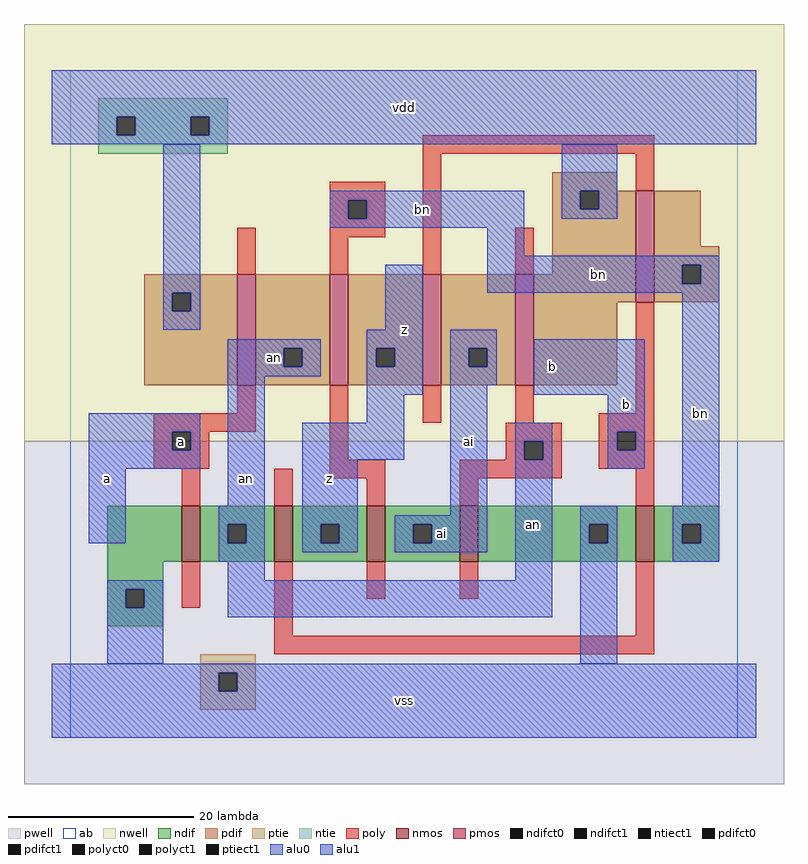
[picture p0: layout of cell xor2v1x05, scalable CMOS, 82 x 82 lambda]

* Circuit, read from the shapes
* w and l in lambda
.subckt xor2v1x05 a ai an b bn vdd vss z
M1 an a vss vss nfet w=6 l=2
M2 z b an vss nfet w=6 l=2
M3 ai bn z vss nfet w=6 l=2
M4 vss an ai vss nfet w=6 l=2
M5 bn b vss vss nfet w=6 l=2
M6 an a vdd vdd pfet w=12 l=2
M7 z bn an vdd pfet w=12 l=2
M8 ai b z vdd pfet w=12 l=2
M9 vdd an ai vdd pfet w=12 l=2
M10 bn b vdd vdd pfet w=12 l=2
.ends

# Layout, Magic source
magic
tech scmos
<< ab >>
rect 0 0 72 72
<< nwell >>
rect -5 32 77 77
<< pwell >>
rect -5 -5 77 32
<< poly >>
rect 38 63 63 65
rect 28 58 34 60
rect 28 56 30 58
rect 32 56 34 58
rect 18 50 20 55
rect 28 54 34 56
rect 28 50 30 54
rect 38 50 40 63
rect 61 59 63 63
rect 48 50 50 55
rect 18 35 20 38
rect 9 33 20 35
rect 9 31 11 33
rect 13 31 15 33
rect 9 29 15 31
rect 28 30 30 38
rect 38 34 40 38
rect 48 34 50 38
rect 61 35 63 47
rect 47 32 53 34
rect 47 30 49 32
rect 51 30 53 32
rect 12 25 14 29
rect 22 25 24 29
rect 28 28 34 30
rect 32 25 34 28
rect 42 28 53 30
rect 57 33 63 35
rect 57 31 59 33
rect 61 31 63 33
rect 57 29 63 31
rect 42 25 44 28
rect 61 25 63 29
rect 12 14 14 19
rect 22 11 24 19
rect 32 15 34 19
rect 42 15 44 19
rect 61 11 63 19
rect 22 9 63 11
<< ndif >>
rect 4 19 12 25
rect 14 23 22 25
rect 14 21 17 23
rect 19 21 22 23
rect 14 19 22 21
rect 24 23 32 25
rect 24 21 27 23
rect 29 21 32 23
rect 24 19 32 21
rect 34 23 42 25
rect 34 21 37 23
rect 39 21 42 23
rect 34 19 42 21
rect 44 23 61 25
rect 44 21 56 23
rect 58 21 61 23
rect 44 19 61 21
rect 63 23 70 25
rect 63 21 66 23
rect 68 21 70 23
rect 63 19 70 21
rect 4 16 10 19
rect 4 14 6 16
rect 8 14 10 16
rect 4 12 10 14
<< pdif >>
rect 52 59 59 61
rect 52 57 55 59
rect 57 57 61 59
rect 52 50 61 57
rect 8 48 18 50
rect 8 46 11 48
rect 13 46 18 48
rect 8 38 18 46
rect 20 42 28 50
rect 20 40 23 42
rect 25 40 28 42
rect 20 38 28 40
rect 30 42 38 50
rect 30 40 33 42
rect 35 40 38 42
rect 30 38 38 40
rect 40 42 48 50
rect 40 40 43 42
rect 45 40 48 42
rect 40 38 48 40
rect 50 47 61 50
rect 63 53 68 59
rect 63 51 70 53
rect 63 49 66 51
rect 68 49 70 51
rect 63 47 70 49
rect 50 38 59 47
<< alu1 >>
rect -2 67 74 72
rect -2 65 5 67
rect 7 65 13 67
rect 15 65 74 67
rect -2 64 74 65
rect 34 44 38 51
rect 32 42 38 44
rect 32 40 33 42
rect 35 40 38 42
rect 2 33 14 35
rect 2 31 11 33
rect 13 31 14 33
rect 2 29 14 31
rect 2 21 6 29
rect 32 37 38 40
rect 32 34 36 37
rect 25 30 36 34
rect 25 23 31 30
rect 50 37 62 43
rect 25 21 27 23
rect 29 21 31 23
rect 25 20 31 21
rect 58 33 62 37
rect 58 31 59 33
rect 61 31 62 33
rect 58 29 62 31
rect -2 7 74 8
rect -2 5 16 7
rect 18 5 74 7
rect -2 0 74 5
<< ptie >>
rect 14 7 20 9
rect 14 5 16 7
rect 18 5 20 7
rect 14 3 20 5
<< ntie >>
rect 3 67 17 69
rect 3 65 5 67
rect 7 65 13 67
rect 15 65 17 67
rect 3 63 17 65
<< nmos >>
rect 12 19 14 25
rect 22 19 24 25
rect 32 19 34 25
rect 42 19 44 25
rect 61 19 63 25
<< pmos >>
rect 18 38 20 50
rect 28 38 30 50
rect 38 38 40 50
rect 48 38 50 50
rect 61 47 63 59
<< polyct0 >>
rect 30 56 32 58
rect 49 30 51 32
<< polyct1 >>
rect 11 31 13 33
rect 59 31 61 33
<< ndifct0 >>
rect 17 21 19 23
rect 37 21 39 23
rect 56 21 58 23
rect 66 21 68 23
rect 6 14 8 16
<< ndifct1 >>
rect 27 21 29 23
<< ntiect1 >>
rect 5 65 7 67
rect 13 65 15 67
<< ptiect1 >>
rect 16 5 18 7
<< pdifct0 >>
rect 55 57 57 59
rect 11 46 13 48
rect 23 40 25 42
rect 43 40 45 42
rect 66 49 68 51
<< pdifct1 >>
rect 33 40 35 42
<< alu0 >>
rect 10 48 14 64
rect 53 59 59 64
rect 28 58 49 59
rect 28 56 30 58
rect 32 56 49 58
rect 53 57 55 59
rect 57 57 59 59
rect 53 56 59 57
rect 28 55 49 56
rect 45 52 49 55
rect 45 51 70 52
rect 10 46 11 48
rect 13 46 14 48
rect 10 44 14 46
rect 45 49 66 51
rect 68 49 70 51
rect 45 48 70 49
rect 17 42 27 43
rect 17 40 23 42
rect 25 40 27 42
rect 17 39 27 40
rect 17 25 21 39
rect 41 42 46 44
rect 41 40 43 42
rect 45 40 46 42
rect 41 38 46 40
rect 16 23 21 25
rect 16 21 17 23
rect 19 21 21 23
rect 16 19 21 21
rect 41 24 45 38
rect 35 23 45 24
rect 35 21 37 23
rect 39 21 45 23
rect 35 20 45 21
rect 48 32 52 34
rect 48 30 49 32
rect 51 30 52 32
rect 17 17 21 19
rect 48 17 52 30
rect 66 25 70 48
rect 4 16 10 17
rect 4 14 6 16
rect 8 14 10 16
rect 4 8 10 14
rect 17 13 52 17
rect 55 23 59 25
rect 55 21 56 23
rect 58 21 59 23
rect 55 8 59 21
rect 65 23 70 25
rect 65 21 66 23
rect 68 21 70 23
rect 65 19 70 21
<< labels >>
rlabel alu0 19 28 19 28 6 an
rlabel alu0 22 41 22 41 6 an
rlabel alu0 50 23 50 23 6 an
rlabel alu0 40 22 40 22 6 ai
rlabel alu0 43 32 43 32 6 ai
rlabel alu0 38 57 38 57 6 bn
rlabel alu0 68 35 68 35 6 bn
rlabel alu0 57 50 57 50 6 bn
rlabel alu1 4 28 4 28 6 a
rlabel polyct1 12 32 12 32 6 a
rlabel alu1 28 28 28 28 6 z
rlabel alu1 36 4 36 4 6 vss
rlabel alu1 52 40 52 40 6 b
rlabel alu1 36 44 36 44 6 z
rlabel alu1 36 68 36 68 6 vdd
rlabel alu1 60 36 60 36 6 b
<< end >>
